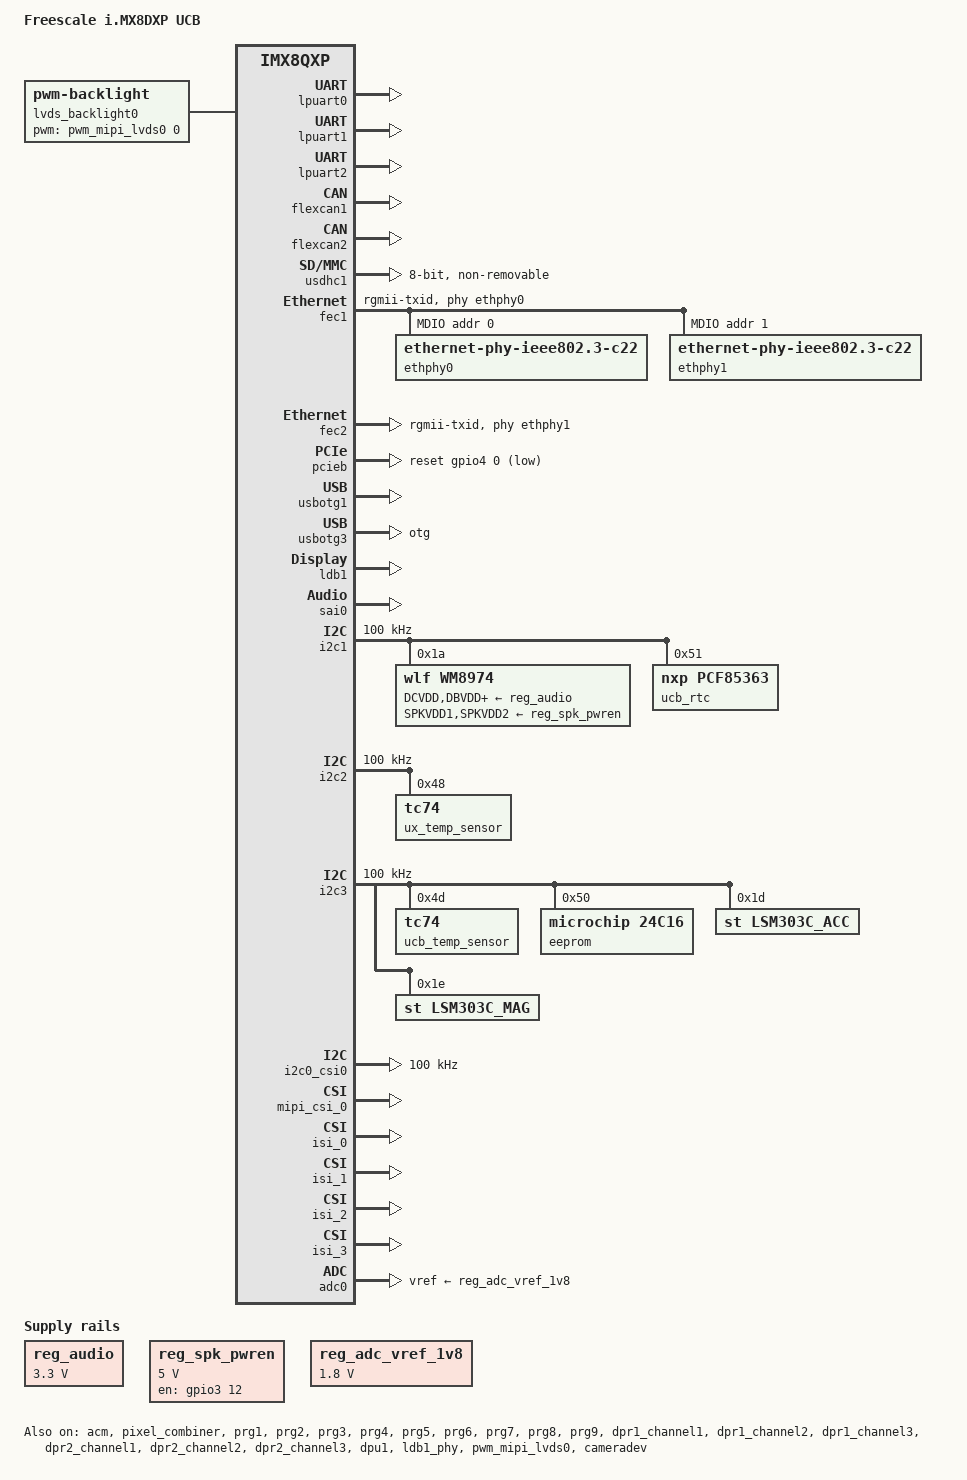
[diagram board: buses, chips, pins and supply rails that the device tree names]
/*
 * Copyright 2017-2018 NXP
 *
 * This program is free software; you can redistribute it and/or
 * modify it under the terms of the GNU General Public License
 * as published by the Free Software Foundation; either version 2
 * of the License, or (at your option) any later version.
 *
 * This program is distributed in the hope that it will be useful,
 * but WITHOUT ANY WARRANTY; without even the implied warranty of
 * MERCHANTABILITY or FITNESS FOR A PARTICULAR PURPOSE.  See the
 * GNU General Public License for more details.
 */

/dts-v1/;

#include "fsl-imx8dxp.dtsi"
/* Refer fsl-imx8qxp-mek.dtsi and imx6qp-cpnk.dtsi */

/ {
	model = "Freescale i.MX8DXP UCB";
        compatible = "fsl,imx8dxp-ucb", "fsl,imx8dxp", "fsl,imx8qxp";

	chosen {
		bootargs = "console=ttyLP0,115200 earlycon=lpuart32,0x5a060000,115200";
		stdout-path = &lpuart0;
	};

	regulators {
		compatible = "simple-bus";
		#address-cells = <1>;
		#size-cells = <0>;
		reg_audio: fixedregulator@0 {
			compatible = "regulator-fixed";
			reg = <0>;
			regulator-name = "wm8974_supply";
			regulator-min-microvolt = <3300000>;
			regulator-max-microvolt = <3300000>;
			regulator-always-on;
		};

		reg_spk_pwren: regulator@1 {
			compatible = "regulator-fixed";
			reg = <1>;
			regulator-name = "spk_pwren";
			regulator-min-microvolt = <5000000>;
			regulator-max-microvolt = <5000000>;
			gpio = <&gpio3 12 GPIO_ACTIVE_HIGH>;
			enable-active-high;
			regulator-always-on;
		};

		reg_adc_vref_1v8: adc_vref_1v8 {
			compatible = "regulator-fixed";
			reg = <2>;
			regulator-name = "vref_1v8";
			regulator-min-microvolt = <1800000>;
			regulator-max-microvolt = <1800000>;
			regulator-always-on;
		};
	};

	lvds_backlight0: lvds_backlight@0 {
		compatible = "pwm-backlight";
		pwms = <&pwm_mipi_lvds0 0 100000 0>;

		brightness-levels = < 0  1  2  3  4  5  6  7  8  9
				     10 11 12 13 14 15 16 17 18 19
				     20 21 22 23 24 25 26 27 28 29
				     30 31 32 33 34 35 36 37 38 39
				     40 41 42 43 44 45 46 47 48 49
				     50 51 52 53 54 55 56 57 58 59
				     60 61 62 63 64 65 66 67 68 69
				     70 71 72 73 74 75 76 77 78 79
				     80 81 82 83 84 85 86 87 88 89
				     90 91 92 93 94 95 96 97 98 99
				    100>;
		default-brightness-level = <80>;
	};

	sound: sound {
		compatible = "fsl,imx-audio-wm8974";
		model = "wm8974-audio";
		cpu-dai = <&sai0>;
		audio-codec = <&wm8974>;
		audio-routing =
			"Ext Spk", "MONOOUT",
			"Mic", "Mic Bias",
			"MICN", "Mic";
	};

};

&iomuxc {
	pinctrl-names = "default";
	pinctrl-0 = <&pinctrl_hog>;
	iomuxc-imx8dxp-ucb {
	        pinctrl_hog: hoggrp {
		        fsl,pins = <
			        SC_P_SPI3_SCK_LSIO_GPIO0_IO13                   0xC0000041 /* CSI0_GPIO1 */
			        SC_P_SPI3_SDI_LSIO_GPIO0_IO15                   0xC0000041 /* CSI0_GPIO2 */
			        SC_P_SPI3_SDO_LSIO_GPIO0_IO14                   0xC0000041 /* CSI0_GPIO3 */
			        SC_P_SPI3_CS0_LSIO_GPIO0_IO16                   0xC0000041 /* CSI0_GPIO4 */
			        SC_P_MIPI_CSI0_GPIO0_00_LSIO_GPIO3_IO08         0xC0000041 /* CSI_GPIO_5 */
			        SC_P_MIPI_CSI0_GPIO0_01_LSIO_GPIO3_IO07         0xC0000041 /* CSI_GPIO_6 */
			        SC_P_MIPI_CSI0_MCLK_OUT_MIPI_CSI0_ACM_MCLK_OUT  0xC0000041 /* CSI_XVCLK */

			        SC_P_SAI1_RXD_LSIO_GPIO0_IO29                   0xC0000041 /* SER_PWR_EN */
			        SC_P_SAI1_RXC_LSIO_GPIO0_IO30                   0xC0000041 /* MAG_INT_B */
			        SC_P_SAI1_RXFS_LSIO_GPIO0_IO31                  0xC0000041 /* MAG_DRDY */
			        SC_P_MIPI_DSI0_I2C0_SCL_LSIO_GPIO1_IO25         0xC0000041 /* RTC_IRQn */
			        SC_P_MIPI_DSI0_I2C0_SDA_LSIO_GPIO1_IO26         0xC0000041 /* ACCEL_INT_B */
			        SC_P_MIPI_DSI1_I2C0_SCL_LSIO_GPIO1_IO29         0xC0000041 /* CHG_CAPGOOD */
			        SC_P_MIPI_DSI1_I2C0_SDA_LSIO_GPIO1_IO30         0xC0000041 /* CHGn_PFW */
			        SC_P_QSPI0A_DQS_LSIO_GPIO3_IO13                 0xC0000041 /* CHG_ENABLE */
			        SC_P_QSPI0A_SS0_B_LSIO_GPIO3_IO14               0xC0000041 /* Tamper_TEST */
			        SC_P_QSPI0A_SS1_B_LSIO_GPIO3_IO15               0xC0000041 /* Tamper_RST_N */

			        SC_P_CSI_EN_LSIO_GPIO3_IO02                     0xC0000041 /* UX_5V_OC */
			        SC_P_CSI_RESET_LSIO_GPIO3_IO03                  0xC0000041 /* UX_GSTIC_RSTn */
			        SC_P_CSI_MCLK_LSIO_GPIO3_IO01                   0xC0000041 /* UX_PWR_EN */
			        SC_P_CSI_PCLK_LSIO_GPIO3_IO00                   0xC0000041 /* UX_GSTIC_TS */
			        SC_P_MCLK_IN0_LSIO_GPIO0_IO19                   0xC0000041 /* RFID_PWR_EN */

			        SC_P_MIPI_DSI0_GPIO0_00_MIPI_DSI0_PWM0_OUT      0x00000020 /* LCD_PWM */
			        SC_P_MIPI_DSI0_GPIO0_01_LSIO_GPIO1_IO28         0xC0000041 /* LCD_SEL_10H_8L */
			        SC_P_QSPI0A_DATA0_LSIO_GPIO3_IO09               0xC0000041 /* LCD_REV_SCAN */
			        SC_P_QSPI0A_DATA1_LSIO_GPIO3_IO10               0xC0000041 /* LCD_3V3_EN */
			        SC_P_QSPI0A_DATA2_LSIO_GPIO3_IO11               0xC0000041 /* LCD_BLU_EN */
			        SC_P_QSPI0A_DATA3_LSIO_GPIO3_IO12               0xC0000041 /* SPK_PWREN */

			        SC_P_QSPI0B_SS0_B_LSIO_GPIO3_IO23               0xC0000041 /* WIFI_WAKE_B */
			        SC_P_QSPI0B_SS1_B_LSIO_GPIO3_IO24               0xC0000041 /* WIFI_PCIE_W_DISABLEn */
			        SC_P_QSPI0B_SCLK_LSIO_GPIO3_IO17                0xC0000041 /* WIFI_EN */
			        SC_P_QSPI0B_DATA0_LSIO_GPIO3_IO18               0xC0000041 /* ENET0_INT */
			        SC_P_QSPI0B_DATA1_LSIO_GPIO3_IO19               0xC0000041 /* ENET0_PPS */
			        SC_P_QSPI0B_DATA2_LSIO_GPIO3_IO20               0xC0000041 /* ENET1_INT */
			        SC_P_QSPI0B_DATA3_LSIO_GPIO3_IO21               0xC0000041 /* ENET1_PPS */

			        SC_P_USB_SS3_TC2_LSIO_GPIO4_IO05                0xC0000041 /* USBHUB_FLEXCMD */
			        SC_P_SPI0_CS0_LSIO_GPIO1_IO08                   0xC0000041 /* GPIO2_0 / LED */
			        SC_P_SPI0_CS1_LSIO_GPIO1_IO07                   0xC0000041 /* GPIO2_1 / LED */
			        SC_P_SPI0_SCK_LSIO_GPIO1_IO04                   0xC0000041 /* GPIO2_2 / ETH0_RST_B */
			        SC_P_SPI0_SDI_LSIO_GPIO1_IO05                   0xC0000041 /* GPIO2_3 / ETH1_RST_B */
			        SC_P_SPI0_SDO_LSIO_GPIO1_IO06                   0xC0000041 /* GPIO2_4 / USB_RST_N */

			        SC_P_SPI2_CS0_LSIO_GPIO1_IO00                   0xC0000041 /* GPIO2_5 / MOD_ENBL */
			        SC_P_SPI2_SCK_LSIO_GPIO1_IO03                   0xC0000041 /* GPIO2_6 / MOD_eRST */
			        SC_P_SPI2_SDI_LSIO_GPIO1_IO02                   0xC0000041 /* GPIO2_7 / MOD_IGT */
			        SC_P_SPI2_SDO_LSIO_GPIO1_IO01                   0xC0000041 /* GPIO2_8 / MOD_STATUS_IO */
		        >;
	        };

	        pinctrl_pcieb: pcieagrp {
		        fsl,pins = <
			        SC_P_PCIE_CTRL0_PERST_B_LSIO_GPIO4_IO00         0x06000021
			        SC_P_PCIE_CTRL0_CLKREQ_B_LSIO_GPIO4_IO01        0x06000021
			        SC_P_PCIE_CTRL0_WAKE_B_LSIO_GPIO4_IO02          0x04000021
		        >;
	        };

	        pinctrl_usdhc1: usdhc1grp {
		        fsl,pins = <
			        SC_P_EMMC0_CLK_CONN_EMMC0_CLK                   0x06000041
			        SC_P_EMMC0_CMD_CONN_EMMC0_CMD                   0x00000021
			        SC_P_EMMC0_DATA0_CONN_EMMC0_DATA0               0x00000021
			        SC_P_EMMC0_DATA1_CONN_EMMC0_DATA1               0x00000021
			        SC_P_EMMC0_DATA2_CONN_EMMC0_DATA2               0x00000021
			        SC_P_EMMC0_DATA3_CONN_EMMC0_DATA3               0x00000021
			        SC_P_EMMC0_DATA4_CONN_EMMC0_DATA4               0x00000021
			        SC_P_EMMC0_DATA5_CONN_EMMC0_DATA5               0x00000021
			        SC_P_EMMC0_DATA6_CONN_EMMC0_DATA6               0x00000021
			        SC_P_EMMC0_DATA7_CONN_EMMC0_DATA7               0x00000021
			        SC_P_EMMC0_STROBE_CONN_EMMC0_STROBE             0x00000041
			        /*SC_P_EMMC0_RESET_B_LSIO_GPIO4_IO18              0xC0000041*/  /*Reset not connected in UCB*/
		        >;
	        };

	        pinctrl_lpuart0: lpuart0grp {
		        fsl,pins = <
			        SC_P_UART0_RX_ADMA_UART0_RX                     0x06000020
			        SC_P_UART0_TX_ADMA_UART0_TX                     0x06000020
		        >;
	        };

	        pinctrl_lpuart1: lpuart1grp {
		        fsl,pins = <
			        SC_P_UART1_TX_ADMA_UART1_TX                     0x06000020
			        SC_P_UART1_RX_ADMA_UART1_RX                     0x06000020
			        SC_P_UART1_RTS_B_ADMA_UART1_RTS_B               0x06000020
			        SC_P_UART1_CTS_B_ADMA_UART1_CTS_B               0x06000020
		        >;
	        };

	        pinctrl_lpuart2: lpuart2grp {
		        fsl,pins = <
			        SC_P_UART2_TX_ADMA_UART2_TX                     0x06000020
			        SC_P_UART2_RX_ADMA_UART2_RX                     0x06000020
		        >;
	        };

	        pinctrl_fec1: fec1grp {
		        fsl,pins = <
			        SC_P_COMP_CTL_GPIO_1V8_3V3_ENET_ENETB0_PAD          0x000014a0
			        SC_P_COMP_CTL_GPIO_1V8_3V3_ENET_ENETB1_PAD          0x000014a0
			        SC_P_ENET0_MDC_CONN_ENET0_MDC                       0x06000020
			        SC_P_ENET0_MDIO_CONN_ENET0_MDIO                     0x06000020
			        SC_P_ENET0_RGMII_TX_CTL_CONN_ENET0_RGMII_TX_CTL     0x00000061
			        SC_P_ENET0_RGMII_TXC_CONN_ENET0_RGMII_TXC           0x00000061
			        SC_P_ENET0_RGMII_TXD0_CONN_ENET0_RGMII_TXD0         0x00000061
			        SC_P_ENET0_RGMII_TXD1_CONN_ENET0_RGMII_TXD1         0x00000061
			        SC_P_ENET0_RGMII_TXD2_CONN_ENET0_RGMII_TXD2         0x00000061
			        SC_P_ENET0_RGMII_TXD3_CONN_ENET0_RGMII_TXD3         0x00000061
			        SC_P_ENET0_RGMII_RXC_CONN_ENET0_RGMII_RXC           0x00000061
			        SC_P_ENET0_RGMII_RX_CTL_CONN_ENET0_RGMII_RX_CTL     0x00000061
			        SC_P_ENET0_RGMII_RXD0_CONN_ENET0_RGMII_RXD0         0x00000061
			        SC_P_ENET0_RGMII_RXD1_CONN_ENET0_RGMII_RXD1         0x00000061
			        SC_P_ENET0_RGMII_RXD2_CONN_ENET0_RGMII_RXD2         0x00000061
			        SC_P_ENET0_RGMII_RXD3_CONN_ENET0_RGMII_RXD3         0x00000061
		        >;
	        };

	        pinctrl_fec2: fec2grp {
		        fsl,pins = <
			        SC_P_ESAI0_SCKR_CONN_ENET1_RGMII_TX_CTL             0x00000060
			        SC_P_ESAI0_FSR_CONN_ENET1_RGMII_TXC                 0x00000060
			        SC_P_ESAI0_TX4_RX1_CONN_ENET1_RGMII_TXD0            0x00000060
			        SC_P_ESAI0_TX5_RX0_CONN_ENET1_RGMII_TXD1            0x00000060
			        SC_P_ESAI0_FST_CONN_ENET1_RGMII_TXD2                0x00000060
			        SC_P_ESAI0_SCKT_CONN_ENET1_RGMII_TXD3               0x00000060
			        SC_P_ESAI0_TX0_CONN_ENET1_RGMII_RXC                 0x00000060
			        SC_P_SPDIF0_TX_CONN_ENET1_RGMII_RX_CTL              0x00000060
			        SC_P_SPDIF0_RX_CONN_ENET1_RGMII_RXD0                0x00000060
			        SC_P_ESAI0_TX3_RX2_CONN_ENET1_RGMII_RXD1            0x00000060
			        SC_P_ESAI0_TX2_RX3_CONN_ENET1_RGMII_RXD2            0x00000060
			        SC_P_ESAI0_TX1_CONN_ENET1_RGMII_RXD3                0x00000060
                        >;
                };

	        pinctrl_flexcan1: flexcan0grp {
		        fsl,pins = <
			        SC_P_FLEXCAN0_TX_ADMA_FLEXCAN0_TX                   0x21
			        SC_P_FLEXCAN0_RX_ADMA_FLEXCAN0_RX                   0x21
                        >;
	        };

	        pinctrl_flexcan2: flexcan1grp {
		        fsl,pins = <
			        SC_P_FLEXCAN1_TX_ADMA_FLEXCAN1_TX                   0x21
			        SC_P_FLEXCAN1_RX_ADMA_FLEXCAN1_RX                   0x21
                        >;
	        };

                pinctrl_csi0_lpi2c0: csi0lpi2c0grp {
                        fsl,pins = <
                                SC_P_MIPI_CSI0_I2C0_SCL_MIPI_CSI0_I2C0_SCL          0xc2000020
                                SC_P_MIPI_CSI0_I2C0_SDA_MIPI_CSI0_I2C0_SDA          0xc2000020
                        >;
                };

                pinctrl_lpi2c1: lpi1cgrp {
		        fsl,pins = <
			        SC_P_USB_SS3_TC1_ADMA_I2C1_SCL                      0x06000021
			        SC_P_USB_SS3_TC3_ADMA_I2C1_SDA                      0x06000021
		        >;
	        };

                pinctrl_lpi2c2: lpi2cgrp {
		        fsl,pins = <
			        SC_P_MIPI_DSI1_GPIO0_00_ADMA_I2C2_SCL               0x06000021
			        SC_P_MIPI_DSI1_GPIO0_01_ADMA_I2C2_SDA               0x06000021
		        >;
	        };

                pinctrl_lpi2c3: lpi3cgrp {
		        fsl,pins = <
			        SC_P_SPI3_CS1_ADMA_I2C3_SCL                         0x06000021
			        SC_P_MCLK_IN1_ADMA_I2C3_SDA                         0x06000021
		        >;
	        };

			pinctrl_sai0: sai0grp {
				fsl,pins = <
			        SC_P_SAI0_RXD_ADMA_SAI0_RXD                         0x06000040
			        SC_P_SAI0_TXC_ADMA_SAI0_TXC                         0x06000040
			        SC_P_SAI0_TXFS_ADMA_SAI0_TXFS                       0x06000040
			        SC_P_SAI0_TXD_ADMA_SAI0_TXD                         0x06000060
			        SC_P_MCLK_OUT0_ADMA_ACM_MCLK_OUT0                   0x0600004c
		        >;
	        };

			pinctrl_adc0: adc0grp {
				fsl,pins = <
					SC_P_ADC_IN0_ADMA_ADC_IN0		0x60
				>;
			};
        };
};

&acm {
	status = "okay";
};

&pd_dma_lpuart0 {
	debug_console;
};

/* serial debug console */
&lpuart0 {
	pinctrl-names = "default";
	pinctrl-0 = <&pinctrl_lpuart0>;
	status = "okay";
};

/* bluetooth on wifi */
&lpuart1 {
	pinctrl-names = "default";
	pinctrl-0 = <&pinctrl_lpuart1>;
	status = "okay";
};

/* rfid */
&lpuart2 {
	pinctrl-names = "default";
	pinctrl-0 = <&pinctrl_lpuart2>;
	status = "okay";
};

&flexcan1 {
	pinctrl-names = "default";
	pinctrl-0 = <&pinctrl_flexcan1>;
	status = "okay";
};

&flexcan2 {
	pinctrl-names = "default";
	pinctrl-0 = <&pinctrl_flexcan2>;
	status = "okay";
};

/* emmc */
&usdhc1 {
	pinctrl-names = "default";
	pinctrl-0 = <&pinctrl_usdhc1>;
	bus-width = <8>;
	non-removable;
	status = "okay";
};

&fec1 {
	pinctrl-names = "default";
	pinctrl-0 = <&pinctrl_fec1>;
	phy-mode = "rgmii-txid";
	phy-handle = <&ethphy0>;
	/* TODO: phy-reset? */
	fsl,magic-packet;
	fsl,rgmii_rxc_dly;
	status = "okay";

	mdio {
		#address-cells = <1>;
		#size-cells = <0>;

		ethphy0: ethernet-phy@0 {
			compatible = "ethernet-phy-ieee802.3-c22";
			reg = <0>;
			at803x,eee-disabled;
			at803x,vddio-1p8v;
		};

		ethphy1: ethernet-phy@1 {
			compatible = "ethernet-phy-ieee802.3-c22";
			reg = <1>;
			at803x,eee-disabled;
			at803x,vddio-1p8v;
			status = "okay";
		};
	};
};

&fec2 {
	pinctrl-names = "default";
	pinctrl-0 = <&pinctrl_fec2>;
	phy-mode = "rgmii-txid";
	phy-handle = <&ethphy1>;
	/* TODO: phy-reset? */
	fsl,magic-packet;
	fsl,rgmii_rxc_dly;
	status = "okay";
};

&pcieb {
	ext_osc = <1>;
	pinctrl-names = "default";
	pinctrl-0 = <&pinctrl_pcieb>;
	clkreq-gpio = <&gpio4 1 GPIO_ACTIVE_LOW>;
	reset-gpio = <&gpio4 0 GPIO_ACTIVE_LOW>;
	status = "okay";
};

&usbphy1 {
	fsl,tx-d-cal = <114>;
};

&usbotg1 {
	srp-disable;
	hnp-disable;
	adp-disable;
	power-polarity-active-high;
	disable-over-current;
	status = "okay";
};

&usbotg3 {
	dr_mode = "otg";
	status = "okay";
	/* TODO: need extcon to ptn5150a? */
};

/* TODO: revisit required dpr and pgr channels */
&pixel_combiner {
	status = "okay";
};

&prg1 {
	status = "okay";
};

&prg2 {
	status = "okay";
};

&prg3 {
	status = "okay";
};

&prg4 {
	status = "okay";
};

&prg5 {
	status = "okay";
};

&prg6 {
	status = "okay";
};

&prg7 {
	status = "okay";
};

&prg8 {
	status = "okay";
};

&prg9 {
	status = "okay";
};

&dpr1_channel1 {
	status = "okay";
};

&dpr1_channel2 {
	status = "okay";
};

&dpr1_channel3 {
	status = "okay";
};

&dpr2_channel1 {
	status = "okay";
};

&dpr2_channel2 {
	status = "okay";
};

&dpr2_channel3 {
	status = "okay";
};

&dpu1 {
	status = "okay";
};

&ldb1_phy {
	status = "okay";
};

&ldb1 {
	status = "okay";

	lvds-channel@0 {
		fsl,data-mapping = "spwg";
		fsl,data-width = <24>;
		status = "okay";
		primary;

		/* TODO: values imay need to be rework (copied from cpnk) */
		display-timings {
			native-mode = <&ampire>;
			ampire: AM-1024768Y2TZQW-A2H {
				clock-frequency = <65000000>;
				hactive = <1024>;
				vactive = <768>;
				hback-porch = <220>;
				hfront-porch = <40>;
				vback-porch = <21>;
				vfront-porch = <7>;
				hsync-len = <60>;
				vsync-len = <10>;
			};
		};
	};
};

&pwm_mipi_lvds0 {
	status = "okay";
};

&sai0 {
	pinctrl-names = "default";
	pinctrl-0 = <&pinctrl_sai0>;
	assigned-clocks = <&clk IMX8QXP_AUD_PLL0_DIV>,
			<&clk IMX8QXP_AUD_ACM_AUD_PLL_CLK0_DIV>,
			<&clk IMX8QXP_AUD_ACM_AUD_REC_CLK0_DIV>,
			<&clk IMX8QXP_AUD_SAI_0_MCLK>;
	assigned-clock-rates = <786432000>, <49152000>, <12288000>, <49152000>;
	status = "okay";
};

&i2c1 {
	#address-cells = <1>;
	#size-cells = <0>;
	clock-frequency = <100000>;
	pinctrl-names = "default";
	pinctrl-0 = <&pinctrl_lpi2c1>;
	status = "okay";

	/* USBHUB I2C and PTN5150A resides on this i2c as well but should require no  adjustments from ucb */

	wm8974: wm8974@1a {
		compatible = "wlf,wm8974";
		reg = <0x1a>;
		clocks = <&clk IMX8QXP_AUD_MCLKOUT0>;
		clock-names = "mclk";
		assigned-clocks = <&clk IMX8QXP_AUD_MCLKOUT0>;
		assigned-clock-rates = <12288000>;
		DCVDD-supply = <&reg_audio>;
		DBVDD-supply = <&reg_audio>;
		AVDD-supply = <&reg_audio>;
		CPVDD-supply = <&reg_audio>;
		PLLVDD-supply = <&reg_audio>;
		SPKVDD1-supply = <&reg_spk_pwren>;
		SPKVDD2-supply = <&reg_spk_pwren>;
	};

	/* RTC and tamper TODO: driver needs to be ported from upstream */
	ucb_rtc: pcf85363@51 {
		compatible = "nxp,pcf85363";
		reg = <0x51>;
	};
};

/* UX board sensors and GestIC */
&i2c2 {
	#address-cells = <1>;
	#size-cells = <0>;
	clock-frequency = <100000>;
	pinctrl-names = "default";
	pinctrl-0 = <&pinctrl_lpi2c2>;
	status = "okay";

	ux_temp_sensor: tc74@48 {
		compatible = "tc74";
		reg = <0x48>;
	};

	/* TODO: add backlight */

};

&i2c3 {
	#address-cells = <1>;
	#size-cells = <0>;
	clock-frequency = <100000>;
	pinctrl-names = "default";
	pinctrl-0 = <&pinctrl_lpi2c3>;
	status = "okay";

	/* PCIe clock generator 9FGV0241 no driver require */

	ucb_temp_sensor: tc74@4d {
		compatible = "tc74";
		reg = <0x4d>;
	};

	eeprom: eeprom@50 {
		compatible = "microchip,24c16";
		reg = <0x50>;
		pagesize = <16>;
	};

	/* tilt sensor */
	lsm303c_acc@1d { /* Accelerometer */
		compatible = "st,lsm303c_acc";
		reg = <0x1d>;
	};
	lsm303c_mag@1e { /* Magnetometer */
		compatible = "st,lsm303c_mag";
		reg = <0x1e>;
	};
};


/* camera interface i2c */
&i2c0_csi0 {
	#address-cells = <1>;
	#size-cells = <0>;
	pinctrl-names = "default";
	pinctrl-0 = <&pinctrl_csi0_lpi2c0>;
	clock-frequency = <100000>;
	status = "okay";
	/* TODO: add camera slave */
};

&mipi_csi_0 {
	#address-cells = <1>;
	#size-cells = <0>;
	virtual-channel;
	status = "okay";

	/* Camera 0  MIPI CSI-2 (CSI0) */
	port@0 {
		reg = <0>;
		mipi_csi0_ep: endpoint {
			/* TODO: remote-endpoint = <camera_ep>; */
			data-lanes = <1 2 3 4>;
		};
	};
};

/* One isi_x for 4 VCx of MIPI CSI0 respectively */
&isi_0 {
	status = "okay";
};

&isi_1 {
	status = "okay";
};

&isi_2 {
	status = "okay";
};

&isi_3 {
	status = "okay";
};

&cameradev {
	status = "okay";
};

&adc0 {
	pinctrl-names = "default";
	pinctrl-0 = <&pinctrl_adc0>;
	vref-supply = <&reg_adc_vref_1v8>;
	status = "okay";
};
